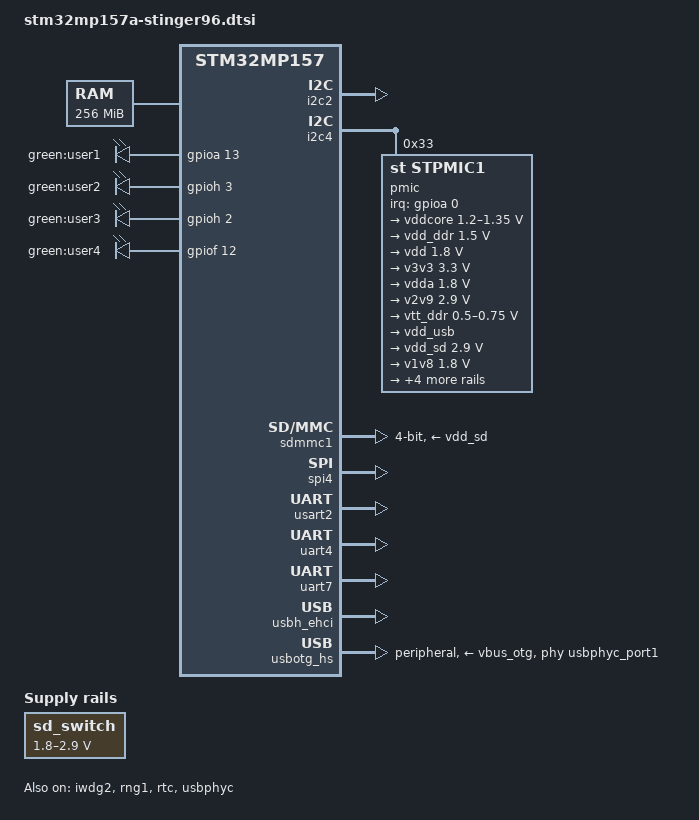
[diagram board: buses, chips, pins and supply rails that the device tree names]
// SPDX-License-Identifier: (GPL-2.0+ OR MIT)
/*
 * Copyright (C) 2020 Manivannan Sadhasivam
 */

/dts-v1/;

#include "stm32mp157.dtsi"
#include "stm32mp15-pinctrl.dtsi"
#include "stm32mp15xxac-pinctrl.dtsi"
#include <dt-bindings/gpio/gpio.h>
#include <dt-bindings/mfd/st,stpmic1.h>

/ {
	aliases {
		mmc0 = &sdmmc1;
		serial0 = &uart4;
		serial1 = &uart7;
		serial2 = &usart2;
		spi0 = &spi4;
	};

	chosen {
		stdout-path = "serial1:115200n8";
	};

	memory@c0000000 {
		device_type = "memory";
		reg = <0xc0000000 0x10000000>;
	};

	led {
		compatible = "gpio-leds";

		led1 {
			label = "green:user1";
			gpios = <&gpioa 13 GPIO_ACTIVE_HIGH>;
			linux,default-trigger = "heartbeat";
			default-state = "off";
		};

		led2 {
			label = "green:user2";
			gpios = <&gpioh 3 GPIO_ACTIVE_HIGH>;
			linux,default-trigger = "mmc0";
			default-state = "off";
		};

		led3 {
			label = "green:user3";
			gpios = <&gpioh 2 GPIO_ACTIVE_HIGH>;
			linux,default-trigger = "mmc1";
			default-state = "off";
		};

		led4 {
			label = "green:user4";
			gpios = <&gpiof 12 GPIO_ACTIVE_HIGH>;
			linux,default-trigger = "none";
			default-state = "off";
			panic-indicator;
		};
	};

	sd_switch: regulator-sd_switch {
		compatible = "regulator-gpio";
		regulator-name = "sd_switch";
		regulator-min-microvolt = <1800000>;
		regulator-max-microvolt = <2900000>;
		regulator-type = "voltage";
		regulator-always-on;

		gpios = <&gpioa 8 GPIO_ACTIVE_HIGH>;
		gpios-states = <0>;
		states = <1800000 0x1>,
			 <2900000 0x0>;
	};
};

/* Only headless mode is supported */
&gpu {
	status = "disabled";
};

/* LS-I2C0 */
&i2c2 {
	pinctrl-names = "default";
	pinctrl-0 = <&i2c2_pins_a>;
	i2c-scl-rising-time-ns = <1000>;
	i2c-scl-falling-time-ns = <300>;
	status = "okay";
	/delete-property/dmas;
	/delete-property/dma-names;
};

&i2c4 {
	pinctrl-names = "default";
	pinctrl-0 = <&i2c4_pins_a>;
	i2c-scl-rising-time-ns = <185>;
	i2c-scl-falling-time-ns = <20>;
	status = "okay";
	/delete-property/dmas;
	/delete-property/dma-names;

	pmic: stpmic@33 {
		compatible = "st,stpmic1";
		reg = <0x33>;
		interrupts-extended = <&gpioa 0 IRQ_TYPE_EDGE_FALLING>;
		interrupt-controller;
		#interrupt-cells = <2>;
		status = "okay";

		regulators {
			compatible = "st,stpmic1-regulators";

			ldo1-supply = <&v3v3>;
			ldo2-supply = <&v3v3>;
			ldo3-supply = <&vdd_ddr>;
			ldo5-supply = <&v3v3>;
			ldo6-supply = <&v3v3>;
			pwr_sw1-supply = <&bst_out>;
			pwr_sw2-supply = <&bst_out>;

			vddcore: buck1 {
				regulator-name = "vddcore";
				regulator-min-microvolt = <1200000>;
				regulator-max-microvolt = <1350000>;
				regulator-always-on;
				regulator-initial-mode = <0>;
				regulator-over-current-protection;
			};

			vdd_ddr: buck2 {
				regulator-name = "vdd_ddr";
				regulator-min-microvolt = <1500000>;
				regulator-max-microvolt = <1500000>;
				regulator-always-on;
				regulator-initial-mode = <0>;
				regulator-over-current-protection;
			};

			vdd: buck3 {
				regulator-name = "vdd";
				regulator-min-microvolt = <1800000>;
				regulator-max-microvolt = <1800000>;
				regulator-always-on;
				st,mask-reset;
				regulator-initial-mode = <0>;
				regulator-over-current-protection;
			};

			v3v3: buck4 {
				regulator-name = "v3v3";
				regulator-min-microvolt = <3300000>;
				regulator-max-microvolt = <3300000>;
				regulator-always-on;
				regulator-over-current-protection;
				regulator-initial-mode = <0>;
			};

			vdda: ldo1 {
				regulator-name = "vdda";
				regulator-min-microvolt = <1800000>;
				regulator-max-microvolt = <1800000>;
				regulator-always-on;
				interrupts = <IT_CURLIM_LDO1 0>;
			};

			v2v9: ldo2 {
				regulator-name = "v2v9";
				regulator-min-microvolt = <2900000>;
				regulator-max-microvolt = <2900000>;
				regulator-always-on;
				interrupts = <IT_CURLIM_LDO2 0>;
			};

			vtt_ddr: ldo3 {
				regulator-name = "vtt_ddr";
				regulator-min-microvolt = <500000>;
				regulator-max-microvolt = <750000>;
				regulator-always-on;
				regulator-over-current-protection;
			};

			vdd_usb: ldo4 {
				regulator-name = "vdd_usb";
				interrupts = <IT_CURLIM_LDO4 0>;
			};

			vdd_sd: ldo5 {
				regulator-name = "vdd_sd";
				regulator-min-microvolt = <2900000>;
				regulator-max-microvolt = <2900000>;
				interrupts = <IT_CURLIM_LDO5 0>;
				regulator-boot-on;
			};

			v1v8: ldo6 {
				regulator-name = "v1v8";
				regulator-min-microvolt = <1800000>;
				regulator-max-microvolt = <1800000>;
				regulator-always-on;
				interrupts = <IT_CURLIM_LDO6 0>;
			};

			vref_ddr: vref_ddr {
				regulator-name = "vref_ddr";
				regulator-always-on;
			};

			bst_out: boost {
				regulator-name = "bst_out";
				interrupts = <IT_OCP_BOOST 0>;
			};

			vbus_otg: pwr_sw1 {
				regulator-name = "vbus_otg";
				interrupts = <IT_OCP_OTG 0>;
				regulator-active-discharge = <1>;
			};

			vbus_sw: pwr_sw2 {
				regulator-name = "vbus_sw";
				interrupts = <IT_OCP_SWOUT 0>;
				regulator-active-discharge = <1>;
			};
		};

		onkey {
			compatible = "st,stpmic1-onkey";
			interrupts = <IT_PONKEY_F 0>, <IT_PONKEY_R 1>;
			interrupt-names = "onkey-falling", "onkey-rising";
			status = "okay";
		};

		watchdog {
			compatible = "st,stpmic1-wdt";
			status = "disabled";
		};
	};
};

&iwdg2 {
	timeout-sec = <32>;
	status = "okay";
};

&pwr_regulators {
	vdd-supply = <&vdd>;
	vdd_3v3_usbfs-supply = <&vdd_usb>;
};

&rng1 {
	status = "okay";
};

&rtc {
	status = "okay";
};

&sdmmc1 {
	pinctrl-names = "default", "opendrain", "sleep";
	pinctrl-0 = <&sdmmc1_b4_pins_a &sdmmc1_dir_pins_b>;
	pinctrl-1 = <&sdmmc1_b4_od_pins_a &sdmmc1_dir_pins_b>;
	pinctrl-2 = <&sdmmc1_b4_sleep_pins_a &sdmmc1_dir_sleep_pins_b>;
	broken-cd;
	disable-wp;
	st,sig-dir;
	st,neg-edge;
	st,use-ckin;
	bus-width = <4>;
	vmmc-supply = <&vdd_sd>;
	vqmmc-supply = <&sd_switch>;
	status = "okay";
};

/* LS-SPI0 */
&spi4 {
	pinctrl-names = "default";
	pinctrl-0 = <&spi4_pins_a>;
	cs-gpios = <&gpioe 11 GPIO_ACTIVE_HIGH>;
	status = "okay";
};

/* BG96 */
&usart2 {
	pinctrl-names = "default", "sleep";
	pinctrl-0 = <&usart2_pins_b>;
	pinctrl-1 = <&usart2_sleep_pins_b>;
	uart-has-rtscts;
	/delete-property/dmas;
	/delete-property/dma-names;
	status = "okay";
};

/* LS-UART0 */
&uart4 {
	pinctrl-names = "default";
	pinctrl-0 = <&uart4_pins_c>;
	uart-has-rtscts;
	/delete-property/dmas;
	/delete-property/dma-names;
	status = "okay";
};

/* Debug console */
&uart7 {
	pinctrl-names = "default";
	pinctrl-0 = <&uart7_pins_b>;
	/delete-property/dmas;
	/delete-property/dma-names;
	status = "okay";
};

&usbh_ehci {
	status = "okay";
};

&usbotg_hs {
	dr_mode = "peripheral";
	pinctrl-0 = <&usbotg_hs_pins_a>;
	pinctrl-names = "default";
	phy-names = "usb2-phy";
	phys = <&usbphyc_port1 0>;
	vbus-supply = <&vbus_otg>;
	status = "okay";
};

&usbphyc {
	status = "okay";
};

&usbphyc_port0 {
	phy-supply = <&vdd_usb>;
};

&usbphyc_port1 {
	phy-supply = <&vdd_usb>;
};
